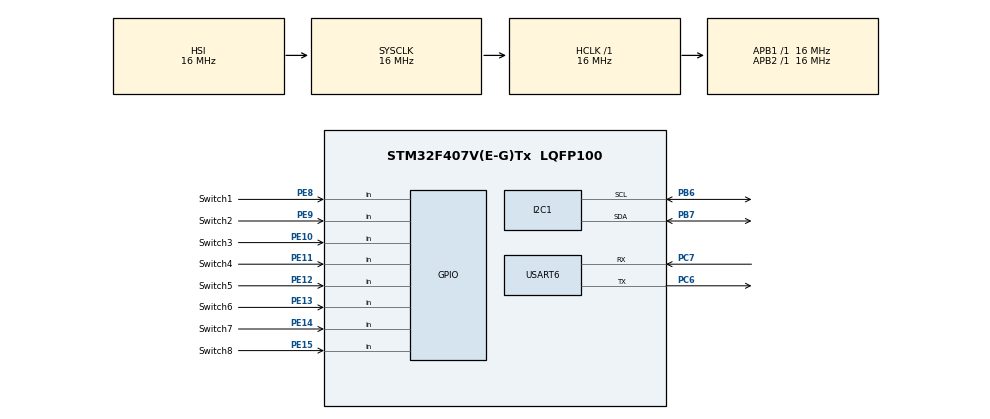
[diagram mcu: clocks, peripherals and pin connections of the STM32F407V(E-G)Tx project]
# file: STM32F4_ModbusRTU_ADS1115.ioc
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Dma.Request0=USART6_RX
Dma.USART6_RX.0.Direction=DMA_PERIPH_TO_MEMORY
Dma.USART6_RX.0.FIFOMode=DMA_FIFOMODE_DISABLE
Dma.USART6_RX.0.Instance=DMA2_Stream1
Dma.USART6_RX.0.MemDataAlignment=DMA_MDATAALIGN_BYTE
Dma.USART6_RX.0.MemInc=DMA_MINC_ENABLE
Dma.USART6_RX.0.Mode=DMA_CIRCULAR
Dma.USART6_RX.0.PeriphDataAlignment=DMA_PDATAALIGN_BYTE
Dma.USART6_RX.0.PeriphInc=DMA_PINC_DISABLE
Dma.USART6_RX.0.Priority=DMA_PRIORITY_LOW
FREERTOS.Tasks01=ModbusTransTask,0,128,ModbusTransThread,Default,NULL,Dynamic,NULL,NULL;ModbusSetTask,0,128,ModbusSetThread,Default,NULL,Dynamic,NULL,NULL;ADS1115Task,0,128,ADS1115Thread,Default,NULL,Dynamic,NULL,NULL
Mcu.Family=STM32F4
Mcu.Name=STM32F407V(E-G)Tx
Mcu.Package=LQFP100
NVIC.DMA2_Stream1_IRQn=true\:5\:0\:false\:false\:true\:true\:false\:true
NVIC.PriorityGroup=NVIC_PRIORITYGROUP_4
NVIC.TIM3_IRQn=true\:0\:0\:false\:false\:true\:false\:false\:true
NVIC.TimeBase=TIM3_IRQn
NVIC.TimeBaseIP=TIM3
NVIC.USART6_IRQn=true\:5\:0\:false\:false\:true\:true\:true\:true
PB6.Mode=I2C
PB6.Signal=I2C1_SCL
PB7.Mode=I2C
PB7.Signal=I2C1_SDA
PC6.Mode=Asynchronous
PC6.Signal=USART6_TX
PC7.Mode=Asynchronous
PC7.Signal=USART6_RX
PE10.GPIO_Label=Switch3
PE10.Signal=GPIO_Input
PE11.GPIO_Label=Switch4
PE11.Signal=GPIO_Input
PE12.GPIO_Label=Switch5
PE12.Signal=GPIO_Input
PE13.GPIO_Label=Switch6
PE13.Signal=GPIO_Input
PE14.GPIO_Label=Switch7
PE14.Signal=GPIO_Input
PE15.GPIO_Label=Switch8
PE15.Signal=GPIO_Input
PE8.GPIO_Label=Switch1
PE8.Signal=GPIO_Input
PE9.GPIO_Label=Switch2
PE9.Signal=GPIO_Input
ProjectManager.HeapSize=0x200
ProjectManager.StackSize=0x400
ProjectManager.TargetToolchain=STM32CubeIDE
RCC.AHBFreq_Value=16000000
RCC.APB1Freq_Value=16000000
RCC.APB2Freq_Value=16000000
RCC.CortexFreq_Value=16000000
RCC.HSE_VALUE=25000000
RCC.HSI_VALUE=16000000
RCC.LSE_VALUE=32768
RCC.SYSCLKFreq_VALUE=16000000
RCC.VCOOutputFreq_Value=192000000
USART6.VirtualMode=VM_ASYNC
VP_FREERTOS_VS_CMSIS_V1.Mode=CMSIS_V1
VP_SYS_VS_tim3.Mode=TIM3
board=custom

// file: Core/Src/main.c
/* USER CODE BEGIN Header */
/**
  ******************************************************************************
  * @file           : main.c
  * @brief          : Main program body
  ******************************************************************************
  * @attention
  *
  * <h2><center>&copy; Copyright (c) 2020 STMicroelectronics.
  * All rights reserved.</center></h2>
  *
  * This software component is licensed by ST under BSD 3-Clause license,
  * the "License"; You may not use this file except in compliance with the
  * License. You may obtain a copy of the License at:
  *                        opensource.org/licenses/BSD-3-Clause
  *
  ******************************************************************************
  */
/* USER CODE END Header */

#include "main.h"
#include "cmsis_os.h"

/* USER CODE BEGIN Includes */
#include "modbus.h"
#include "Delay.h"
#include <stdio.h>
#include <math.h>
#include "ads1115.h"
/* USER CODE END Includes */

/* USER CODE BEGIN PTD */

uint8_t rxbuffer[8];
#define ADS1115_ADDRESS 0x48
unsigned char ADSwrite[6];
int16_t reading;
float voltageT[4];
const float voltageConv = 6.114 / 32768.0;
/* USER CODE END PTD */

/* USER CODE BEGIN PD */
typedef enum
{
  Switch_Off    = 0x00U,
  Switch_On       = 0x01U,
} SwitchStatus;
/* USER CODE END PD */

I2C_HandleTypeDef hi2c1;

UART_HandleTypeDef huart6;
DMA_HandleTypeDef hdma_usart6_rx;

osThreadId ModbusTransTaskHandle;
osThreadId ModbusSetTaskHandle;
osThreadId ADS1115TaskHandle;
/* USER CODE BEGIN PV */
uint8_t SLAVEID[8];
uint8_t ADCVALUE[16];
uint8_t slaveID = 0;
uint8_t SwitchValue[8];

float voltage = 0;
/* USER CODE END PV */

void SystemClock_Config(void);
static void MX_GPIO_Init(void);
static void MX_DMA_Init(void);
static void MX_USART6_UART_Init(void);
static void MX_I2C1_Init(void);
void ModbusTransThread(void const * argument);
void ModbusSetThread(void const * argument);
void ADS1115Thread(void const * argument);

int main(void)
{

  /* MCU Configuration--------------------------------------------------------*/

  /* Reset of all peripherals, Initializes the Flash interface and the Systick. */
  HAL_Init();

  /* Configure the system clock */
  SystemClock_Config();

  /* Initialize all configured peripherals */
  MX_GPIO_Init();
  MX_DMA_Init();
  MX_USART6_UART_Init();
  MX_I2C1_Init();
  /* USER CODE BEGIN 2 */
  delay_init(16);

  //TODO: read DIP switch
  SwitchValue[0] = HAL_GPIO_ReadPin(GPIOE, Switch1_Pin);
  SwitchValue[1] = HAL_GPIO_ReadPin(GPIOE, Switch2_Pin);
  SwitchValue[2] = HAL_GPIO_ReadPin(GPIOE, Switch3_Pin);
  SwitchValue[3] = HAL_GPIO_ReadPin(GPIOE, Switch4_Pin);
  SwitchValue[4] = HAL_GPIO_ReadPin(GPIOE, Switch5_Pin);
  SwitchValue[5] = HAL_GPIO_ReadPin(GPIOE, Switch6_Pin);
  SwitchValue[6] = HAL_GPIO_ReadPin(GPIOE, Switch7_Pin);
  SwitchValue[7] = HAL_GPIO_ReadPin(GPIOE, Switch8_Pin);

  //TODO: converter DIP switch to modbus slave using binary
  for(uint8_t i = 0; i <8; i++)
  {
	  slaveID += SwitchValue[i] * pow(2,i);
  }

  delay_ms(100);

 //ADCstatus =  HAL_ADC_Stop_DMA(&hadc1);

  HAL_UART_Receive_DMA(&huart6, rxbuffer, 8);

  /* USER CODE END 2 */

  /* Create the thread(s) */
  /* definition and creation of ModbusTransTask */
  osThreadDef(ModbusTransTask, ModbusTransThread, osPriorityNormal, 0, 128);
  ModbusTransTaskHandle = osThreadCreate(osThread(ModbusTransTask), NULL);

  /* definition and creation of ModbusSetTask */
  osThreadDef(ModbusSetTask, ModbusSetThread, osPriorityNormal, 0, 128);
  ModbusSetTaskHandle = osThreadCreate(osThread(ModbusSetTask), NULL);

  /* definition and creation of ADS1115Task */
  osThreadDef(ADS1115Task, ADS1115Thread, osPriorityNormal, 0, 128);
  ADS1115TaskHandle = osThreadCreate(osThread(ADS1115Task), NULL);

  /* USER CODE BEGIN RTOS_THREADS */
  ModBus_Init();
  ModBus_SetAddress(slaveID);
  /* add threads, ... */
  /* USER CODE END RTOS_THREADS */

  /* Start scheduler */
  osKernelStart();

  /* We should never get here as control is now taken by the scheduler */
  /* Infinite loop */
  while (1)
  {

  }
}

void SystemClock_Config(void)
{
  RCC_OscInitTypeDef RCC_OscInitStruct = {0};
  RCC_ClkInitTypeDef RCC_ClkInitStruct = {0};

  /** Configure the main internal regulator output voltage
  */
  __HAL_RCC_PWR_CLK_ENABLE();
  __HAL_PWR_VOLTAGESCALING_CONFIG(PWR_REGULATOR_VOLTAGE_SCALE1);
  /** Initializes the CPU, AHB and APB busses clocks
  */
  RCC_OscInitStruct.OscillatorType = RCC_OSCILLATORTYPE_HSI;
  RCC_OscInitStruct.HSIState = RCC_HSI_ON;
  RCC_OscInitStruct.HSICalibrationValue = RCC_HSICALIBRATION_DEFAULT;
  RCC_OscInitStruct.PLL.PLLState = RCC_PLL_NONE;
  if (HAL_RCC_OscConfig(&RCC_OscInitStruct) != HAL_OK)
  {
    Error_Handler();
  }
  /** Initializes the CPU, AHB and APB busses clocks
  */
  RCC_ClkInitStruct.ClockType = RCC_CLOCKTYPE_HCLK|RCC_CLOCKTYPE_SYSCLK
                              |RCC_CLOCKTYPE_PCLK1|RCC_CLOCKTYPE_PCLK2;
  RCC_ClkInitStruct.SYSCLKSource = RCC_SYSCLKSOURCE_HSI;
  RCC_ClkInitStruct.AHBCLKDivider = RCC_SYSCLK_DIV1;
  RCC_ClkInitStruct.APB1CLKDivider = RCC_HCLK_DIV1;
  RCC_ClkInitStruct.APB2CLKDivider = RCC_HCLK_DIV1;

  if (HAL_RCC_ClockConfig(&RCC_ClkInitStruct, FLASH_LATENCY_0) != HAL_OK)
  {
    Error_Handler();
  }
}

static void MX_I2C1_Init(void)
{

  hi2c1.Instance = I2C1;
  hi2c1.Init.ClockSpeed = 100000;
  hi2c1.Init.DutyCycle = I2C_DUTYCYCLE_2;
  hi2c1.Init.OwnAddress1 = 0;
  hi2c1.Init.AddressingMode = I2C_ADDRESSINGMODE_7BIT;
  hi2c1.Init.DualAddressMode = I2C_DUALADDRESS_DISABLE;
  hi2c1.Init.OwnAddress2 = 0;
  hi2c1.Init.GeneralCallMode = I2C_GENERALCALL_DISABLE;
  hi2c1.Init.NoStretchMode = I2C_NOSTRETCH_DISABLE;
  if (HAL_I2C_Init(&hi2c1) != HAL_OK)
  {
    Error_Handler();
  }

}

static void MX_USART6_UART_Init(void)
{

  huart6.Instance = USART6;
  huart6.Init.BaudRate = 115200;
  huart6.Init.WordLength = UART_WORDLENGTH_8B;
  huart6.Init.StopBits = UART_STOPBITS_1;
  huart6.Init.Parity = UART_PARITY_NONE;
  huart6.Init.Mode = UART_MODE_TX_RX;
  huart6.Init.HwFlowCtl = UART_HWCONTROL_NONE;
  huart6.Init.OverSampling = UART_OVERSAMPLING_16;
  if (HAL_UART_Init(&huart6) != HAL_OK)
  {
    Error_Handler();
  }

}

static void MX_DMA_Init(void)
{

  /* DMA controller clock enable */
  __HAL_RCC_DMA2_CLK_ENABLE();

  /* DMA interrupt init */
  /* DMA2_Stream1_IRQn interrupt configuration */
  HAL_NVIC_SetPriority(DMA2_Stream1_IRQn, 5, 0);
  HAL_NVIC_EnableIRQ(DMA2_Stream1_IRQn);

}

static void MX_GPIO_Init(void)
{
  GPIO_InitTypeDef GPIO_InitStruct = {0};

  /* GPIO Ports Clock Enable */
  __HAL_RCC_GPIOE_CLK_ENABLE();
  __HAL_RCC_GPIOC_CLK_ENABLE();
  __HAL_RCC_GPIOB_CLK_ENABLE();

  /*Configure GPIO pins : Switch1_Pin Switch2_Pin Switch3_Pin Switch4_Pin
                           Switch5_Pin Switch6_Pin Switch7_Pin Switch8_Pin */
  GPIO_InitStruct.Pin = Switch1_Pin|Switch2_Pin|Switch3_Pin|Switch4_Pin
                          |Switch5_Pin|Switch6_Pin|Switch7_Pin|Switch8_Pin;
  GPIO_InitStruct.Mode = GPIO_MODE_INPUT;
  GPIO_InitStruct.Pull = GPIO_NOPULL;
  HAL_GPIO_Init(GPIOE, &GPIO_InitStruct);

}

/* USER CODE BEGIN 4 */
void HAL_UART_RxCpltCallback(UART_HandleTypeDef *huart)
{
 /* Prevent unused argument(s) compilation warning */
 UNUSED(huart);
 /* NOTE: This function should not be modified, when the callback is needed,
          the HAL_UART_RxCpltCallback could be implemented in the user file
  */
 HAL_UART_Receive_DMA(&huart6, rxbuffer, 8);
	for(int i=0;i<8;i++)
	{
		 osMessagePut(ModBusInHandle,rxbuffer[i],0);
	}
}

/* USER CODE END 4 */

void ModbusTransThread(void const * argument)
{
  /* USER CODE BEGIN 5 */
	  uint8_t buf[256]; // buffer, where we collect output data
	  uint8_t c = 0; // counter for buffer fill
	  uint8_t count = 0;
  /* Infinite loop */
  for(;;)
  {
	 // ModBus_SetRegister(0,5+1);

    osEvent evt = osMessageGet(ModBusOutHandle,200); // wait here 200 tick
    if (evt.status == osEventMessage)
      {

        buf[c++]=(uint8_t) evt.value.v;
      }
    if (evt.status == osEventTimeout)
      {
        if( (c > 0) && (c < 254) ) // ok, something in buffer exist, lets send it
        {
        	HAL_StatusTypeDef AA = HAL_UART_Transmit(&huart6, buf, c, 50); // by USB-CDC
        }
      c=0;
      }

    //osDelay(1);
  }
  /* USER CODE END 5 */
}

void ModbusSetThread(void const * argument)
{
  /* USER CODE BEGIN ModbusSetThread */
  /* Infinite loop */
  for(;;)
  {

	for(int i=0;i<16;i++)
	{
		   ModBus_SetRegister(i,ADCVALUE[i]);
	}

    //osDelay(1);
  }
  /* USER CODE END ModbusSetThread */
}

void ADS1115Thread(void const * argument)
{
  /* USER CODE BEGIN ADS1115Thread */
  /* Infinite loop */
  for(;;)
  {
		for( int i = 0; i < 2; i++) {
			ADSwrite[0] = 0x01;
			if(Ads1115QueryMode == differentialMode)
			switch(i) {
				case(0):
					ADSwrite[1] = 0x81; // 10000001
				break;
				case(1):
					ADSwrite[1] = 0xB1;// 10110001
				break;
			}
			else // single-end mode
			{
			case(0):
				ADSwrite[1] = 0x81; // 10000001
			break;
			case(1):
				ADSwrite[1] = 0xB1;// 10110001
			break;
//				case(2):
//					ADSwrite[1] = 0xE1;
//				break;
//				case(3):
//					ADSwrite[1] = 0xF1;
//				break;
			}
			ADSwrite[2] = 0x83; // 10000011
			HAL_I2C_Master_Transmit(&hi2c1, ADS1115_ADDRESS<<1, ADSwrite, 3, 100);
			ADSwrite[0] = 0x00;
			HAL_I2C_Master_Transmit(&hi2c1, ADS1115_ADDRESS<<1, ADSwrite, 1, 100);
			HAL_Delay(20);
			HAL_I2C_Master_Receive(&hi2c1, ADS1115_ADDRESS<<1, ADSwrite, 2, 100);
			reading = (ADSwrite[0] << 8 | ADSwrite[1]);
			if(reading >= 0x8000 && reading <= 0xffff)
			{
				reading = 0xffff - reading;   //差值为负取绝对值，使得A0 A1正反接都行
			}
			 else if(reading >= 0xffff)
			 {
				 reading = 0;
			 }

			voltageT[i] = reading * voltageConv;
		}
    delay_ms(1);
  }
  /* USER CODE END ADS1115Thread */
}

 /**
  * @brief  Period elapsed callback in non blocking mode
  * @note   This function is called  when TIM3 interrupt took place, inside
  * HAL_TIM_IRQHandler(). It makes a direct call to HAL_IncTick() to increment
  * a global variable "uwTick" used as application time base.
  * @param  htim : TIM handle
  * @retval None
  */
void HAL_TIM_PeriodElapsedCallback(TIM_HandleTypeDef *htim)
{
  if (htim->Instance == TIM3) {
    HAL_IncTick();
  }
}

void Error_Handler(void)
{
}

/************************ (C) COPYRIGHT STMicroelectronics *****END OF FILE****/
